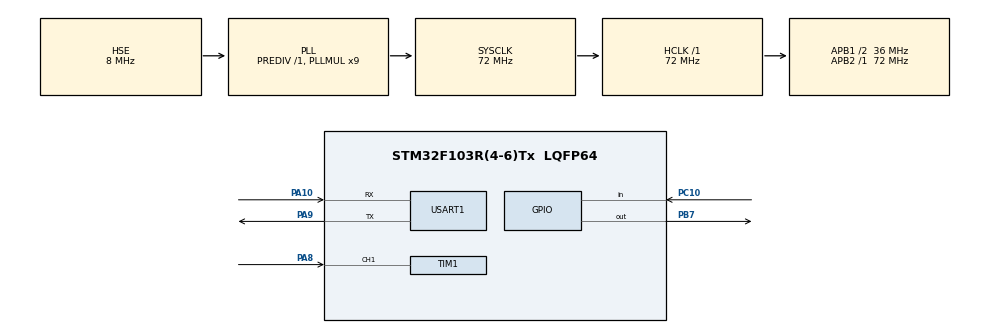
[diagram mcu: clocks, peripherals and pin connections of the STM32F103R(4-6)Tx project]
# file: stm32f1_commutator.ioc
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Mcu.Family=STM32F1
Mcu.Name=STM32F103R(4-6)Tx
Mcu.Package=LQFP64
NVIC.PriorityGroup=NVIC_PRIORITYGROUP_4
NVIC.TIM1_CC_IRQn=true\:0\:0\:false\:false\:true\:true\:true
PA10.Mode=Asynchronous
PA10.Signal=USART1_RX
PA13.Mode=Trace_Asynchronous_SW
PA13.Signal=SYS_JTMS-SWDIO
PA14.Mode=Trace_Asynchronous_SW
PA14.Signal=SYS_JTCK-SWCLK
PA8.GPIO_PuPd=GPIO_PULLDOWN
PA8.Signal=S_TIM1_CH1
PA9.Mode=Asynchronous
PA9.Signal=USART1_TX
PB3.Mode=Trace_Asynchronous_SW
PB3.Signal=SYS_JTDO-TRACESWO
PB7.Signal=GPIO_Output
PC10.GPIO_PuPd=GPIO_PULLUP
PC10.Signal=GPIO_Input
PD0-OSC_IN.Mode=HSE-External-Oscillator
PD0-OSC_IN.Signal=RCC_OSC_IN
PD1-OSC_OUT.Mode=HSE-External-Oscillator
PD1-OSC_OUT.Signal=RCC_OSC_OUT
ProjectManager.HeapSize=0x200
ProjectManager.StackSize=0x400
ProjectManager.TargetToolchain=STM32CubeIDE
RCC.AHBFreq_Value=72000000
RCC.APB1CLKDivider=RCC_HCLK_DIV2
RCC.APB1Freq_Value=36000000
RCC.APB1TimFreq_Value=72000000
RCC.APB2Freq_Value=72000000
RCC.APB2TimFreq_Value=72000000
RCC.HCLKFreq_Value=72000000
RCC.PLLMUL=RCC_PLL_MUL9
RCC.PLLSourceVirtual=RCC_PLLSOURCE_HSE
RCC.SYSCLKFreq_VALUE=72000000
RCC.SYSCLKSource=RCC_SYSCLKSOURCE_PLLCLK
RCC.USBFreq_Value=72000000
SH.S_TIM1_CH1.0=TIM1_CH1,Input_Capture1_from_TI1
SH.S_TIM1_CH1.1=TIM1_CH1,Input_Capture2_from_TI1
TIM1.Channel-Input_Capture1_from_TI1=TIM_CHANNEL_1
TIM1.Channel-Input_Capture2_from_TI1=TIM_CHANNEL_2
TIM1.ICPolarity_CH2=TIM_INPUTCHANNELPOLARITY_FALLING
TIM1.Period=65000
TIM1.Prescaler=72
USART1.VirtualMode=VM_ASYNC
board=custom

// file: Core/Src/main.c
/* USER CODE BEGIN Header */
/**
  ******************************************************************************
  * @file           : main.c
  * @brief          : Main program body
  ******************************************************************************
  * @attention
  *
  * <h2><center>&copy; Copyright (c) 2020 STMicroelectronics.
  * All rights reserved.</center></h2>
  *
  * This software component is licensed by ST under BSD 3-Clause license,
  * the "License"; You may not use this file except in compliance with the
  * License. You may obtain a copy of the License at:
  *                        opensource.org/licenses/BSD-3-Clause
  *
  ******************************************************************************
  */
/* USER CODE END Header */
#include "main.h"

/* USER CODE BEGIN Includes */
#include "ws2812b.h"
#include <string.h>
#include <stdio.h>
#include <stdlib.h>
#include <stdint.h>
#include "libPWM.h"
#include "sysInit.h"
/* USER CODE END Includes */

TIM_HandleTypeDef htim1;

UART_HandleTypeDef huart1;

/* USER CODE BEGIN PV */
char trans_str[64] = {0,};
uint32_t falling;
uint32_t period;
int out;
int A_chan, B_chan;
int b;
int state; 				// Button flag
int LED;
int led_num1 =1;
int led_num2 = 32;
int led_flag;
/* USER CODE END PV */

void SystemClock_Config(void);
static void MX_GPIO_Init(void);
static void MX_USART1_UART_Init(void);
static void MX_TIM1_Init(void);
/* USER CODE BEGIN PFP */
void measure_func1(void);
void compare_out(void);
void next_meas(void);
void mux_addr(uint8_t b2,uint8_t b3,uint8_t b4,uint8_t a1, uint8_t a2, uint8_t a3, uint8_t a4);
void measure_process(int number);
/* USER CODE END PFP */

/* USER CODE BEGIN 0 */
int _write(int file, char *ptr, int len)
{
	int i = 0;
	for (i = 0; i < len; i++)
		ITM_SendChar((*ptr++));
	return len;
}
/* USER CODE END 0 */

int main(void)
{

  /* MCU Configuration--------------------------------------------------------*/

  /* Reset of all peripherals, Initializes the Flash interface and the Systick. */

	HAL_Init();

  /* Configure the system clock */
  SystemClock_Config();

  /* Initialize all configured peripherals */
  MX_GPIO_Init();
  MX_USART1_UART_Init();
  MX_TIM1_Init();
  /* USER CODE BEGIN 2 */
  Mux_GPIO();
  ws2812b_init();
  while(!ws2812b_is_ready()) {}
  PWM_Init(36, 100, 50); 			// Значение сдвига фаз 25% от периода
  TIM3->CR1 |= TIM_CR1_CEN;
  //TIM3->CR1 |= TIM_CR1_CEN;
  //  mux_addr(0, 0, 0, 0, 0, 0, 1);
//  HAL_TIM_IC_Start_IT(&htim1, TIM_CHANNEL_1);
//  HAL_TIM_IC_Start_IT(&htim1, TIM_CHANNEL_2);
//    ws2812b_set(17, 25, 0, 0);
// 	ws2812b_send();
  /* USER CODE END 2 */

  /* Infinite loop */
  /* USER CODE BEGIN WHILE */
  while (1)
  {

//	  snprintf(trans_str, 63, "Pulse %lu mks\r\n", falling);
//	  HAL_UART_Transmit(&huart1, (uint8_t*)trans_str, strlen(trans_str), 1000);
//	  falling = 0;
//	  HAL_Delay(400);

//	  state = HAL_GPIO_ReadPin(GPIOC, GPIO_PIN_10);
//
//	  if (state == 0 && b == 0)	// push the button
//	  {
//		  b = 1;
//	  }
//	  if (state ==1 && b == 1)
//	  {
//		  GPIOB->ODR ^= GPIO_ODR_ODR7;
//		  next_meas();
//		  b = 0;
//	  }

	  next_meas();
	  HAL_Delay(50);

//	  mux_addr(0, 0, 0, 0, 0, 1, 0);
//	  for (int num = 0; num < 4; num++) {
//		  measure_func();
//	  }
//	  HAL_Delay(500);
//	  if (falling > 19) {
//
//		  ws2812b_set(2, 60, 0, 0);
//		  ws2812b_send();
//	  } else {
//		  ws2812b_set(2, 0, 60, 0);
//		  ws2812b_send();
//	  }
//	  HAL_Delay(500);

    /* USER CODE END WHILE */

  }
}

void SystemClock_Config(void)
{
  RCC_OscInitTypeDef RCC_OscInitStruct = {0};
  RCC_ClkInitTypeDef RCC_ClkInitStruct = {0};

  /** Initializes the RCC Oscillators according to the specified parameters
  * in the RCC_OscInitTypeDef structure.
  */
  RCC_OscInitStruct.OscillatorType = RCC_OSCILLATORTYPE_HSE;
  RCC_OscInitStruct.HSEState = RCC_HSE_ON;
  RCC_OscInitStruct.HSEPredivValue = RCC_HSE_PREDIV_DIV1;
  RCC_OscInitStruct.HSIState = RCC_HSI_ON;
  RCC_OscInitStruct.PLL.PLLState = RCC_PLL_ON;
  RCC_OscInitStruct.PLL.PLLSource = RCC_PLLSOURCE_HSE;
  RCC_OscInitStruct.PLL.PLLMUL = RCC_PLL_MUL9;
  if (HAL_RCC_OscConfig(&RCC_OscInitStruct) != HAL_OK)
  {
    Error_Handler();
  }
  /** Initializes the CPU, AHB and APB buses clocks
  */
  RCC_ClkInitStruct.ClockType = RCC_CLOCKTYPE_HCLK|RCC_CLOCKTYPE_SYSCLK
                              |RCC_CLOCKTYPE_PCLK1|RCC_CLOCKTYPE_PCLK2;
  RCC_ClkInitStruct.SYSCLKSource = RCC_SYSCLKSOURCE_PLLCLK;
  RCC_ClkInitStruct.AHBCLKDivider = RCC_SYSCLK_DIV1;
  RCC_ClkInitStruct.APB1CLKDivider = RCC_HCLK_DIV2;
  RCC_ClkInitStruct.APB2CLKDivider = RCC_HCLK_DIV1;

  if (HAL_RCC_ClockConfig(&RCC_ClkInitStruct, FLASH_LATENCY_2) != HAL_OK)
  {
    Error_Handler();
  }
}

static void MX_TIM1_Init(void)
{

  TIM_MasterConfigTypeDef sMasterConfig = {0};
  TIM_IC_InitTypeDef sConfigIC = {0};

  htim1.Instance = TIM1;
  htim1.Init.Prescaler = 72;
  htim1.Init.CounterMode = TIM_COUNTERMODE_UP;
  htim1.Init.Period = 65000;
  htim1.Init.ClockDivision = TIM_CLOCKDIVISION_DIV1;
  htim1.Init.RepetitionCounter = 0;
  htim1.Init.AutoReloadPreload = TIM_AUTORELOAD_PRELOAD_DISABLE;
  if (HAL_TIM_IC_Init(&htim1) != HAL_OK)
  {
    Error_Handler();
  }
  sMasterConfig.MasterOutputTrigger = TIM_TRGO_RESET;
  sMasterConfig.MasterSlaveMode = TIM_MASTERSLAVEMODE_DISABLE;
  if (HAL_TIMEx_MasterConfigSynchronization(&htim1, &sMasterConfig) != HAL_OK)
  {
    Error_Handler();
  }
  sConfigIC.ICPolarity = TIM_INPUTCHANNELPOLARITY_RISING;
  sConfigIC.ICSelection = TIM_ICSELECTION_DIRECTTI;
  sConfigIC.ICPrescaler = TIM_ICPSC_DIV1;
  sConfigIC.ICFilter = 0;
  if (HAL_TIM_IC_ConfigChannel(&htim1, &sConfigIC, TIM_CHANNEL_1) != HAL_OK)
  {
    Error_Handler();
  }
  sConfigIC.ICPolarity = TIM_INPUTCHANNELPOLARITY_FALLING;
  sConfigIC.ICSelection = TIM_ICSELECTION_INDIRECTTI;
  if (HAL_TIM_IC_ConfigChannel(&htim1, &sConfigIC, TIM_CHANNEL_2) != HAL_OK)
  {
    Error_Handler();
  }

}

static void MX_USART1_UART_Init(void)
{

  huart1.Instance = USART1;
  huart1.Init.BaudRate = 115200;
  huart1.Init.WordLength = UART_WORDLENGTH_8B;
  huart1.Init.StopBits = UART_STOPBITS_1;
  huart1.Init.Parity = UART_PARITY_NONE;
  huart1.Init.Mode = UART_MODE_TX_RX;
  huart1.Init.HwFlowCtl = UART_HWCONTROL_NONE;
  huart1.Init.OverSampling = UART_OVERSAMPLING_16;
  if (HAL_UART_Init(&huart1) != HAL_OK)
  {
    Error_Handler();
  }

}

static void MX_GPIO_Init(void)
{
  GPIO_InitTypeDef GPIO_InitStruct = {0};

  /* GPIO Ports Clock Enable */
  __HAL_RCC_GPIOD_CLK_ENABLE();
  __HAL_RCC_GPIOA_CLK_ENABLE();
  __HAL_RCC_GPIOC_CLK_ENABLE();
  __HAL_RCC_GPIOB_CLK_ENABLE();

  /*Configure GPIO pin Output Level */
  HAL_GPIO_WritePin(GPIOB, GPIO_PIN_7, GPIO_PIN_RESET);

  /*Configure GPIO pin : PC10 */
  GPIO_InitStruct.Pin = GPIO_PIN_10;
  GPIO_InitStruct.Mode = GPIO_MODE_INPUT;
  GPIO_InitStruct.Pull = GPIO_PULLUP;
  HAL_GPIO_Init(GPIOC, &GPIO_InitStruct);

  /*Configure GPIO pin : PB7 */
  GPIO_InitStruct.Pin = GPIO_PIN_7;
  GPIO_InitStruct.Mode = GPIO_MODE_OUTPUT_PP;
  GPIO_InitStruct.Pull = GPIO_NOPULL;
  GPIO_InitStruct.Speed = GPIO_SPEED_FREQ_LOW;
  HAL_GPIO_Init(GPIOB, &GPIO_InitStruct);

}

/* USER CODE BEGIN 4 */
void HAL_TIM_IC_CaptureCallback(TIM_HandleTypeDef *htim) 								// колбек по захвату
{
        if(htim->Instance == TIM1)
        {
                if(htim->Channel == HAL_TIM_ACTIVE_CHANNEL_1) 							// RISING с LOW на HIGH
                {
                        __HAL_TIM_SET_COUNTER(&htim1, 0x0000); 							// обнуление счётчика
                }

                else if(htim->Channel == HAL_TIM_ACTIVE_CHANNEL_2) 						// FALLING с HIGH на LOW
                {
                        falling = HAL_TIM_ReadCapturedValue(&htim1, TIM_CHANNEL_2); 	// чтение значения в регистре захвата/сравнения
//                        snprintf(trans_str, 63, "Pulse %lu mks\r\n", falling);
//                        HAL_UART_Transmit(&huart1, (uint8_t*)trans_str, strlen(trans_str), 1000);
                }
        }
}

void measure_func1(void) {

	//TIM3->CR1 |= TIM_CR1_CEN;
	HAL_TIM_IC_Start_IT(&htim1, TIM_CHANNEL_1);
	HAL_TIM_IC_Start_IT(&htim1, TIM_CHANNEL_2);
	HAL_UART_Transmit(&huart1, (uint8_t*)trans_str, strlen(trans_str), 1000);
	snprintf(trans_str, 63, "Pulse %lu mks\r\n", falling);
	HAL_UART_Transmit(&huart1, (uint8_t*)trans_str, strlen(trans_str), 1000);
	//HAL_Delay(400);
	//TIM3->CR1 &= ~TIM_CR1_CEN;
	HAL_TIM_IC_Stop_IT(&htim1, TIM_CHANNEL_1);
	HAL_TIM_IC_Stop_IT(&htim1, TIM_CHANNEL_2);

}

/************************************************** Some function ****************************************************************/

void compare_out(void) {

	switch(out)
	{

	case 0:
		//ws2812b_buff_claer();
		led_num1 =1;
		led_num2 = 32;
		HAL_Delay(150);

		break;

	case 1:
		mux_addr(0, 0, 0, 0, 0, 0, 1);
		led_flag = 1;
		measure_process(out);
		HAL_Delay(100);
		led_flag = 0;
		mux_addr(1, 0, 0, 0, 0, 0, 1);
		measure_process(out);
		HAL_Delay(100);

		break;

	case 2:
		mux_addr(0, 0, 0, 0, 0, 1, 0);
		led_flag = 1;
		measure_process(out);
		HAL_Delay(100);
		led_flag = 0;
		mux_addr(1, 0, 0, 0, 0, 1, 0);
		measure_process(out);
		HAL_Delay(100);

		break;

	case 3:
		mux_addr(0, 0, 0, 0, 0, 1, 1);
		led_flag = 1;
		measure_process(out);
		HAL_Delay(100);
		led_flag = 0;
		mux_addr(1, 0, 0, 0, 0, 1, 1);
		measure_process(out);
		HAL_Delay(100);

		break;

	case 4:
		mux_addr(0, 0, 0, 0, 1, 0, 0);
		led_flag = 1;
		measure_process(out);
		HAL_Delay(100);
		led_flag = 0;
		mux_addr(1, 0, 0, 0, 1, 0, 0);
		measure_process(out);
		HAL_Delay(100);

		break;

	case 5:
		mux_addr(0, 0, 0, 0, 1, 0, 1);
		led_flag = 1;
		measure_process(out);
		HAL_Delay(100);
		led_flag = 0;
		mux_addr(1, 0, 0, 0, 1, 0, 1);
		measure_process(out);
		HAL_Delay(100);

		break;

	case 6:
		mux_addr(0, 0, 0, 0, 1, 1, 0);
		led_flag = 1;
		measure_process(out);
		HAL_Delay(100);
		led_flag = 0;
		mux_addr(1, 0, 0, 0, 1, 1, 0);
		measure_process(out);
		HAL_Delay(100);

		break;

	case 7:
		mux_addr(0, 0, 0, 0, 1, 1, 1);
		led_flag = 1;
		measure_process(out);
		HAL_Delay(100);
		led_flag = 0;
		mux_addr(1, 0, 0, 0, 1, 1, 1);
		measure_process(out);
		HAL_Delay(100);

		break;

	case 8:
		mux_addr(0, 0, 0, 1, 0, 0, 0);
		led_flag = 1;
		measure_process(out);
		HAL_Delay(100);
		led_flag = 0;
		mux_addr(1, 0, 0, 1, 0, 0, 0);
		measure_process(out);
		HAL_Delay(100);

		break;

	case 9:
		mux_addr(0, 0, 0, 1, 0, 0, 1);
		led_flag = 1;
		measure_process(out);
		HAL_Delay(100);
		led_flag = 0;
		mux_addr(1, 0, 0, 1, 0, 0, 1);
		measure_process(out);
		HAL_Delay(100);

		break;

	case 10:
		mux_addr(0, 0, 0, 1, 0, 1, 0);
		led_flag = 1;
		measure_process(out);
		HAL_Delay(100);
		led_flag = 0;
		mux_addr(1, 0, 0, 1, 0, 1, 0);\
		measure_process(out);
		HAL_Delay(100);

		break;

	case 11:
		mux_addr(0, 0, 0, 1, 0, 1, 1);
		led_flag = 1;
		measure_process(out);
		HAL_Delay(100);
		led_flag = 0;
		mux_addr(1, 0, 0, 1, 0, 1, 1);
		measure_process(out);
		HAL_Delay(100);

		break;

	case 12:
		mux_addr(0, 0, 0, 1, 1, 0, 0);
		led_flag = 1;
		measure_process(out);
		HAL_Delay(100);
		led_flag = 0;
		mux_addr(1, 0, 0, 1, 1, 0, 0);
		measure_process(out);
		HAL_Delay(100);

		break;

	case 13:
		mux_addr(0, 0, 0, 1, 1, 0, 1);
		led_flag = 1;
		measure_process(out);
		HAL_Delay(100);
		led_flag = 0;
		mux_addr(1, 0, 0, 1, 1, 0, 1);
		measure_process(out);
		HAL_Delay(100);

		break;

	case 14:
		mux_addr(0, 0, 0, 1, 1, 1, 0);
		led_flag = 1;
		measure_process(out);
		HAL_Delay(100);
		led_flag = 0;
		mux_addr(1, 0, 0, 1, 1, 1, 0);
		measure_process(out);
		HAL_Delay(100);

		break;

	case 15:
		mux_addr(0, 0, 0, 1, 1, 1, 1);
		led_flag = 1;
		measure_process(out);
		HAL_Delay(100);
		led_flag = 0;
		mux_addr(1, 0, 0, 1, 1, 1, 1);
		measure_process(out);
		HAL_Delay(100);

		break;

/****************************************************************/

	case 16:
		mux_addr(0, 0, 1, 0, 0, 0, 0);
		led_flag = 1;
		measure_process(out);
		HAL_Delay(100);
		led_flag = 0;
		mux_addr(1, 0, 1, 0, 0, 0, 0);
		measure_process(out);
		HAL_Delay(100);

		break;

	case 17:
		mux_addr(0, 0, 1, 0, 0, 0, 1);
		led_flag = 1;
		measure_process(out);
		HAL_Delay(100);
		led_flag = 0;
		mux_addr(1, 0, 1, 0, 0, 0, 1);
		measure_process(out);
		HAL_Delay(100);

		break;

	case 18:
		mux_addr(0, 0, 1, 0, 0, 1, 0);
		led_flag = 1;
		measure_process(out);
		HAL_Delay(100);
		led_flag = 0;
		mux_addr(1, 0, 1, 0, 0, 1, 0);
		measure_process(out);
		HAL_Delay(100);

		break;

	case 19:
		mux_addr(0, 0, 1, 0, 0, 1, 1);
		led_flag = 1;
		measure_process(out);
		HAL_Delay(100);
		led_flag = 0;
		mux_addr(1, 0, 1, 0, 0, 1, 1);
		measure_process(out);
		HAL_Delay(100);

		break;

	case 20:
		mux_addr(0, 0, 1, 0, 1, 0, 0);
		led_flag = 1;
		measure_process(out);
		HAL_Delay(100);
		led_flag = 0;
		mux_addr(1, 0, 1, 0, 1, 0, 0);
		measure_process(out);
		HAL_Delay(100);

		break;

	case 21:
		mux_addr(0, 0, 1, 0, 1, 0, 1);
		led_flag = 1;
		measure_process(out);
		HAL_Delay(100);
		led_flag = 0;
		mux_addr(1, 0, 1, 0, 1, 0, 1);
		measure_process(out);
		HAL_Delay(100);

		break;

	case 22:
		mux_addr(0, 0, 1, 0, 1, 1, 0);
		led_flag = 1;
		measure_process(out);
		HAL_Delay(100);
		led_flag = 0;
		mux_addr(1, 0, 1, 0, 1, 1, 0);
		measure_process(out);
		HAL_Delay(100);

		break;

	case 23:
		mux_addr(0, 0, 1, 0, 1, 1, 1);
		led_flag = 1;
		measure_process(out);
		HAL_Delay(100);
		led_flag = 0;
		mux_addr(1, 0, 1, 0, 1, 1, 1);
		measure_process(out);
		HAL_Delay(100);

		break;

	case 24:
		mux_addr(0, 0, 1, 1, 0, 0, 0);
		led_flag = 1;
		measure_process(out);
		HAL_Delay(100);
		led_flag = 0;
		mux_addr(1, 0, 1, 1, 0, 0, 0);
		measure_process(out);
		HAL_Delay(100);

		break;

	case 25:
		mux_addr(0, 0, 1, 1, 0, 0, 1);
		led_flag = 1;
		measure_process(out);
		HAL_Delay(100);
		led_flag = 0;
		mux_addr(1, 0, 1, 1, 0, 0, 1);
		measure_process(out);
		HAL_Delay(100);

		break;

	case 26:
		mux_addr(0, 0, 1, 1, 0, 1, 0);
		led_flag = 1;
		measure_process(out);
		HAL_Delay(100);
		led_flag = 0;
		mux_addr(1, 0, 1, 1, 0, 1, 0);
		measure_process(out);
		HAL_Delay(100);

		break;

	case 27:
		mux_addr(0, 0, 1, 1, 0, 1, 1);
		led_flag = 1;
		measure_process(out);
		HAL_Delay(100);
		led_flag = 0;
		mux_addr(1, 0, 1, 1, 0, 1, 1);
		measure_process(out);
		HAL_Delay(100);

		break;

	case 28:
		mux_addr(0, 0, 1, 1, 1, 0, 0);
		led_flag = 1;
		measure_process(out);
		HAL_Delay(100);
		led_flag = 0;
		mux_addr(1, 0, 1, 1, 1, 0, 0);
		measure_process(out);
		HAL_Delay(100);

		break;

	case 29:
		mux_addr(0, 0, 1, 1, 1, 0, 1);
		led_flag = 1;
		measure_process(out);
		HAL_Delay(100);
		led_flag = 0;
		mux_addr(1, 0, 1, 1, 1, 0, 1);
		measure_process(out);
		HAL_Delay(100);

		break;

	case 30:
		mux_addr(0, 0, 1, 1, 1, 1, 0);
		led_flag = 1;
		measure_process(out);
		HAL_Delay(100);
		led_flag = 0;
		mux_addr(1, 0, 1, 1, 1, 1, 0);
		measure_process(out);
		HAL_Delay(100);

		break;

	case 31:
		mux_addr(0, 0, 1, 1, 1, 1, 1);
		led_flag = 1;
		measure_process(out);
		HAL_Delay(100);
		led_flag = 0;
		mux_addr(1, 0, 1, 1, 1, 1, 1);
		measure_process(out);
		HAL_Delay(100);

		break;

	case 32:
		mux_addr(0, 1, 0, 0, 0, 0, 0);
		led_flag = 1;
		measure_process(out);
		HAL_Delay(100);
		led_flag = 0;
		mux_addr(1, 1, 0, 0, 0, 0, 0);
		measure_process(out);
		HAL_Delay(100);

		break;

	case 33:
		mux_addr(0, 1, 0, 0, 0, 0, 1);
		led_flag = 1;
		measure_process(out);
		HAL_Delay(100);
		led_flag = 0;
		mux_addr(1, 1, 0, 0, 0, 0, 1);
		measure_process(out);
		HAL_Delay(100);
//		ws2812b_buff_claer();
//		led_num1 =1;
//		led_num2 = 32;
//		HAL_Delay(150);

		break;

	}
}

// measure function
void measure_process(int number)
{
	for (int num = 0; num < 6; num++) {
		measure_func1();
	}
	HAL_Delay(500);
	int led = number - 1;

	if (led_flag == 1) {
		if (led == 0) {
			//led_num1 = 0;
			LED = 0;
		} else if (led % 2 == 0) {
			LED = led_num1++;
		} else if (led % 2 > 0) {
			LED = led_num2--;
		}
	}
//	if (led == 0) {
//		//led_num1 = 0;
//		LED = 0;
//	} else if (led % 2 == 0) {
//		LED = led_num1++;
//	} else if (led % 2 > 0) {
//		LED = led_num2--;
//	}

	if (falling > 90 && falling < 100) {

		ws2812b_set(LED, 0, 25, 0);
		ws2812b_send();

	} else {

		ws2812b_set(LED, 25, 0, 0);
		ws2812b_send();

	}
	falling = 0;
}

void next_meas(void) {

	out = (out + 1) % 34;
	compare_out();

}

// принимает 0 или 1 нужно учитывать инверсию бита. Для установки 1 нужно записать 0, для 0 - 1(наоборот)
void mux_addr(uint8_t b2,uint8_t b3,uint8_t b4,uint8_t a1, uint8_t a2, uint8_t a3, uint8_t a4) {

	if (a1 == 0) {
		GPIOA->BSRR |= GPIO_BSRR_BR4;
	} else {
		GPIOA->BSRR |= GPIO_BSRR_BS4;
	}

	if (a2 == 0) {
		GPIOA->BSRR |= GPIO_BSRR_BR5;
	} else {
		GPIOA->BSRR |= GPIO_BSRR_BS5;
	}

	if (a3 == 0) {
		GPIOA->BSRR |= GPIO_BSRR_BR1;
	} else {
		GPIOA->BSRR |= GPIO_BSRR_BS1;
	}

	if (a4 == 0) {
		GPIOA->BSRR |= GPIO_BSRR_BR3;
	} else {
		GPIOA->BSRR |= GPIO_BSRR_BS3;
	}

	if (b4 == 0) {
		GPIOB->BSRR |= GPIO_BSRR_BR1;
	} else {
		GPIOB->BSRR |= GPIO_BSRR_BS1;
	}

	if (b3 == 0) {
		GPIOB->BSRR |= GPIO_BSRR_BR0;
	} else {
		GPIOB->BSRR |= GPIO_BSRR_BS0;
	}

	if (b2 == 0) {
		GPIOC->BSRR |= GPIO_BSRR_BR5;
	} else {
		GPIOC->BSRR |= GPIO_BSRR_BS5;
	}

}

/* USER CODE END 4 */

void Error_Handler(void)
{
}

/************************ (C) COPYRIGHT STMicroelectronics *****END OF FILE****/
